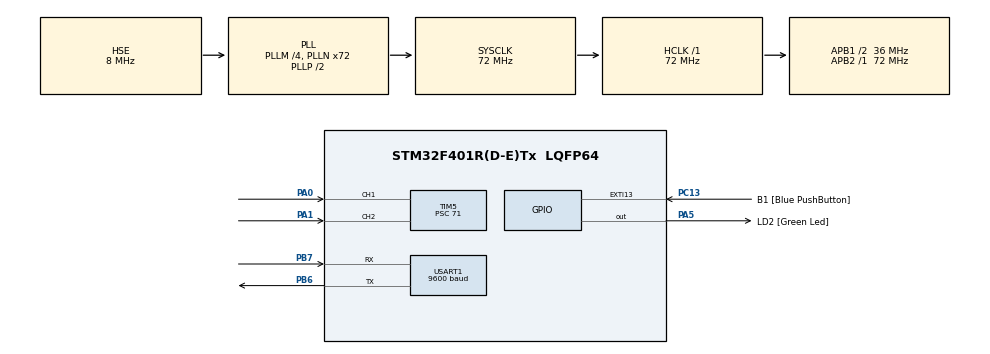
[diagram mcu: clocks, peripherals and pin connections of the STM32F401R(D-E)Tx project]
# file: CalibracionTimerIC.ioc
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Mcu.Family=STM32F4
Mcu.Name=STM32F401R(D-E)Tx
Mcu.Package=LQFP64
NVIC.EXTI15_10_IRQn=true\:0\:0\:false\:false\:true\:true\:true\:true
NVIC.PriorityGroup=NVIC_PRIORITYGROUP_0
NVIC.TIM5_IRQn=true\:0\:0\:false\:false\:true\:true\:true\:true
PA0-WKUP.Signal=S_TIM5_CH1
PA1.Signal=S_TIM5_CH2
PA13.GPIO_Label=TMS
PA13.Mode=Serial_Wire
PA13.Signal=SYS_JTMS-SWDIO
PA14.GPIO_Label=TCK
PA14.Mode=Serial_Wire
PA14.Signal=SYS_JTCK-SWCLK
PA5.GPIO_Label=LD2 [Green Led]
PA5.GPIO_Mode=GPIO_MODE_OUTPUT_PP
PA5.GPIO_PuPd=GPIO_NOPULL
PA5.GPIO_Speed=GPIO_SPEED_FREQ_LOW
PA5.Signal=GPIO_Output
PB3.GPIO_Label=SWO
PB3.Signal=SYS_JTDO-SWO
PB6.Mode=Asynchronous
PB6.Signal=USART1_TX
PB7.Mode=Asynchronous
PB7.Signal=USART1_RX
PC13-ANTI_TAMP.GPIO_Label=B1 [Blue PushButton]
PC13-ANTI_TAMP.GPIO_ModeDefaultEXTI=GPIO_MODE_IT_FALLING
PC13-ANTI_TAMP.GPIO_PuPd=GPIO_NOPULL
PC13-ANTI_TAMP.Signal=GPXTI13
PC14-OSC32_IN.Mode=LSE-External-Oscillator
PC14-OSC32_IN.Signal=RCC_OSC32_IN
PC15-OSC32_OUT.Mode=LSE-External-Oscillator
PC15-OSC32_OUT.Signal=RCC_OSC32_OUT
PH0\ -\ OSC_IN.Mode=HSE-External-Clock-Source
PH0\ -\ OSC_IN.Signal=RCC_OSC_IN
PH1\ -\ OSC_OUT.Mode=HSE-External-Clock-Source
PH1\ -\ OSC_OUT.Signal=RCC_OSC_OUT
ProjectManager.HeapSize=0x200
ProjectManager.StackSize=0x400
ProjectManager.TargetToolchain=STM32CubeIDE
RCC.48MHZClocksFreq_Value=20571428.57142857
RCC.AHBFreq_Value=72000000
RCC.APB1CLKDivider=RCC_HCLK_DIV2
RCC.APB1Freq_Value=36000000
RCC.APB1TimFreq_Value=72000000
RCC.APB2Freq_Value=72000000
RCC.APB2TimFreq_Value=72000000
RCC.CortexFreq_Value=72000000
RCC.HCLKFreq_Value=72000000
RCC.HSE_VALUE=8000000
RCC.HSI_VALUE=16000000
RCC.PLLM=4
RCC.PLLN=72
RCC.PLLQ=7
RCC.PLLSourceVirtual=RCC_PLLSOURCE_HSE
RCC.SYSCLKFreq_VALUE=72000000
RCC.SYSCLKSource=RCC_SYSCLKSOURCE_PLLCLK
RCC.VCOOutputFreq_Value=144000000
SH.S_TIM5_CH1.0=TIM5_CH1,Input_Capture1_from_TI1
SH.S_TIM5_CH2.0=TIM5_CH2,Input_Capture2_from_TI2
TIM5.Channel-Input_Capture1_from_TI1=TIM_CHANNEL_1
TIM5.Channel-Input_Capture2_from_TI2=TIM_CHANNEL_2
TIM5.Prescaler=71
USART1.BaudRate=9600
USART1.VirtualMode=VM_ASYNC
VP_TIM5_VS_ClockSourceINT.Mode=Internal
board=NUCLEO-F401RE

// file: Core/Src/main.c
/* USER CODE BEGIN Header */
/**
  ******************************************************************************
  * @file           : main.c
  * @brief          : Main program body
  ******************************************************************************
  * @attention
  *
  * Copyright (c) 2022 STMicroelectronics.
  * All rights reserved.
  *
  * This software is licensed under terms that can be found in the LICENSE file
  * in the root directory of this software component.
  * If no LICENSE file comes with this software, it is provided AS-IS.
  *
  ******************************************************************************
  */
/* USER CODE END Header */
#include "main.h"

/* USER CODE BEGIN Includes */
#include <stdio.h>
#include <string.h>
/* USER CODE END Includes */

TIM_HandleTypeDef htim5;

UART_HandleTypeDef huart1;

/* USER CODE BEGIN PV */
uint8_t puls = 0;
uint8_t medicion_realizada = 0;

uint32_t IC_in;
uint32_t IC_out;
/* USER CODE END PV */

void SystemClock_Config(void);
static void MX_GPIO_Init(void);
static void MX_USART1_UART_Init(void);
static void MX_TIM5_Init(void);

int main(void)
{
  /* USER CODE BEGIN 1 */
	uint8_t bufferTX[7];
	uint32_t time_diff;
  /* USER CODE END 1 */

  /* MCU Configuration--------------------------------------------------------*/

  /* Reset of all peripherals, Initializes the Flash interface and the Systick. */
  HAL_Init();

  /* Configure the system clock */
  SystemClock_Config();

  /* Initialize all configured peripherals */
  MX_GPIO_Init();
  MX_USART1_UART_Init();
  MX_TIM5_Init();

  /* Infinite loop */
  /* USER CODE BEGIN WHILE */
  while (1)
  {
	  if(puls == 1)
	  {
		  puls = 0;

		  HAL_TIM_IC_Start_IT(&htim5, TIM_CHANNEL_1);
		  HAL_TIM_IC_Start_IT(&htim5, TIM_CHANNEL_2);

		  while(medicion_realizada == 0);

		  if (IC_out >= IC_in)
			time_diff = (IC_out - IC_in);

		  else if (IC_in > IC_out) //Entre IC_in e IC_out se llenó el registro de la cuenta
			time_diff = ((65535 - IC_in) + IC_out);

		  sprintf((char*)bufferTX, "%lu\n", time_diff);

		  HAL_UART_Transmit(&huart1, bufferTX, strlen((char*)bufferTX), HAL_MAX_DELAY);

		  HAL_Delay(20);
	  }
    /* USER CODE END WHILE */

  }
}

void SystemClock_Config(void)
{
  RCC_OscInitTypeDef RCC_OscInitStruct = {0};
  RCC_ClkInitTypeDef RCC_ClkInitStruct = {0};

  /** Configure the main internal regulator output voltage
  */
  __HAL_RCC_PWR_CLK_ENABLE();
  __HAL_PWR_VOLTAGESCALING_CONFIG(PWR_REGULATOR_VOLTAGE_SCALE2);

  /** Initializes the RCC Oscillators according to the specified parameters
  * in the RCC_OscInitTypeDef structure.
  */
  RCC_OscInitStruct.OscillatorType = RCC_OSCILLATORTYPE_HSE;
  RCC_OscInitStruct.HSEState = RCC_HSE_BYPASS;
  RCC_OscInitStruct.PLL.PLLState = RCC_PLL_ON;
  RCC_OscInitStruct.PLL.PLLSource = RCC_PLLSOURCE_HSE;
  RCC_OscInitStruct.PLL.PLLM = 4;
  RCC_OscInitStruct.PLL.PLLN = 72;
  RCC_OscInitStruct.PLL.PLLP = RCC_PLLP_DIV2;
  RCC_OscInitStruct.PLL.PLLQ = 7;
  if (HAL_RCC_OscConfig(&RCC_OscInitStruct) != HAL_OK)
  {
    Error_Handler();
  }

  /** Initializes the CPU, AHB and APB buses clocks
  */
  RCC_ClkInitStruct.ClockType = RCC_CLOCKTYPE_HCLK|RCC_CLOCKTYPE_SYSCLK
                              |RCC_CLOCKTYPE_PCLK1|RCC_CLOCKTYPE_PCLK2;
  RCC_ClkInitStruct.SYSCLKSource = RCC_SYSCLKSOURCE_PLLCLK;
  RCC_ClkInitStruct.AHBCLKDivider = RCC_SYSCLK_DIV1;
  RCC_ClkInitStruct.APB1CLKDivider = RCC_HCLK_DIV2;
  RCC_ClkInitStruct.APB2CLKDivider = RCC_HCLK_DIV1;

  if (HAL_RCC_ClockConfig(&RCC_ClkInitStruct, FLASH_LATENCY_2) != HAL_OK)
  {
    Error_Handler();
  }
}

static void MX_TIM5_Init(void)
{

  TIM_ClockConfigTypeDef sClockSourceConfig = {0};
  TIM_MasterConfigTypeDef sMasterConfig = {0};
  TIM_IC_InitTypeDef sConfigIC = {0};

  htim5.Instance = TIM5;
  htim5.Init.Prescaler = 71;
  htim5.Init.CounterMode = TIM_COUNTERMODE_UP;
  htim5.Init.Period = 4294967295;
  htim5.Init.ClockDivision = TIM_CLOCKDIVISION_DIV1;
  htim5.Init.AutoReloadPreload = TIM_AUTORELOAD_PRELOAD_DISABLE;
  if (HAL_TIM_Base_Init(&htim5) != HAL_OK)
  {
    Error_Handler();
  }
  sClockSourceConfig.ClockSource = TIM_CLOCKSOURCE_INTERNAL;
  if (HAL_TIM_ConfigClockSource(&htim5, &sClockSourceConfig) != HAL_OK)
  {
    Error_Handler();
  }
  if (HAL_TIM_IC_Init(&htim5) != HAL_OK)
  {
    Error_Handler();
  }
  sMasterConfig.MasterOutputTrigger = TIM_TRGO_RESET;
  sMasterConfig.MasterSlaveMode = TIM_MASTERSLAVEMODE_DISABLE;
  if (HAL_TIMEx_MasterConfigSynchronization(&htim5, &sMasterConfig) != HAL_OK)
  {
    Error_Handler();
  }
  sConfigIC.ICPolarity = TIM_INPUTCHANNELPOLARITY_RISING;
  sConfigIC.ICSelection = TIM_ICSELECTION_DIRECTTI;
  sConfigIC.ICPrescaler = TIM_ICPSC_DIV1;
  sConfigIC.ICFilter = 0;
  if (HAL_TIM_IC_ConfigChannel(&htim5, &sConfigIC, TIM_CHANNEL_1) != HAL_OK)
  {
    Error_Handler();
  }
  if (HAL_TIM_IC_ConfigChannel(&htim5, &sConfigIC, TIM_CHANNEL_2) != HAL_OK)
  {
    Error_Handler();
  }

}

static void MX_USART1_UART_Init(void)
{

  huart1.Instance = USART1;
  huart1.Init.BaudRate = 9600;
  huart1.Init.WordLength = UART_WORDLENGTH_8B;
  huart1.Init.StopBits = UART_STOPBITS_1;
  huart1.Init.Parity = UART_PARITY_NONE;
  huart1.Init.Mode = UART_MODE_TX_RX;
  huart1.Init.HwFlowCtl = UART_HWCONTROL_NONE;
  huart1.Init.OverSampling = UART_OVERSAMPLING_16;
  if (HAL_UART_Init(&huart1) != HAL_OK)
  {
    Error_Handler();
  }

}

static void MX_GPIO_Init(void)
{
  GPIO_InitTypeDef GPIO_InitStruct = {0};

  /* GPIO Ports Clock Enable */
  __HAL_RCC_GPIOC_CLK_ENABLE();
  __HAL_RCC_GPIOH_CLK_ENABLE();
  __HAL_RCC_GPIOA_CLK_ENABLE();
  __HAL_RCC_GPIOB_CLK_ENABLE();

  /*Configure GPIO pin Output Level */
  HAL_GPIO_WritePin(LD2_GPIO_Port, LD2_Pin, GPIO_PIN_RESET);

  /*Configure GPIO pin : B1_Pin */
  GPIO_InitStruct.Pin = B1_Pin;
  GPIO_InitStruct.Mode = GPIO_MODE_IT_FALLING;
  GPIO_InitStruct.Pull = GPIO_NOPULL;
  HAL_GPIO_Init(B1_GPIO_Port, &GPIO_InitStruct);

  /*Configure GPIO pin : LD2_Pin */
  GPIO_InitStruct.Pin = LD2_Pin;
  GPIO_InitStruct.Mode = GPIO_MODE_OUTPUT_PP;
  GPIO_InitStruct.Pull = GPIO_NOPULL;
  GPIO_InitStruct.Speed = GPIO_SPEED_FREQ_LOW;
  HAL_GPIO_Init(LD2_GPIO_Port, &GPIO_InitStruct);

  /* EXTI interrupt init*/
  HAL_NVIC_SetPriority(EXTI15_10_IRQn, 0, 0);
  HAL_NVIC_EnableIRQ(EXTI15_10_IRQn);

}

/* USER CODE BEGIN 4 */
void HAL_GPIO_EXTI_Callback(uint16_t GPIO_Pin)
{
	puls = 1;
}

void HAL_TIM_IC_CaptureCallback(TIM_HandleTypeDef *htim)
{
	static uint8_t first_capture = 0;

	if(htim->Channel == HAL_TIM_ACTIVE_CHANNEL_1)
	{
		if(first_capture == 0 && medicion_realizada == 0)	//Primer flanco ascendente
		{
			HAL_TIM_IC_Stop_IT(&htim5, TIM_CHANNEL_1);
			IC_in = htim->Instance->CCR1;
			first_capture = 1;

		}
	}
	if(htim->Channel == HAL_TIM_ACTIVE_CHANNEL_2)
	{
		if(first_capture)	//Si ya se capturó el primer flanco en el canal 2
		{
			HAL_TIM_IC_Stop_IT(&htim5, TIM_CHANNEL_2);
			medicion_realizada = 1;
			IC_out = htim->Instance->CCR2;
			first_capture = 0;
		}
	}
}
/* USER CODE END 4 */

void Error_Handler(void)
{
  __disable_irq();
  while (1)
  {
  }
}
